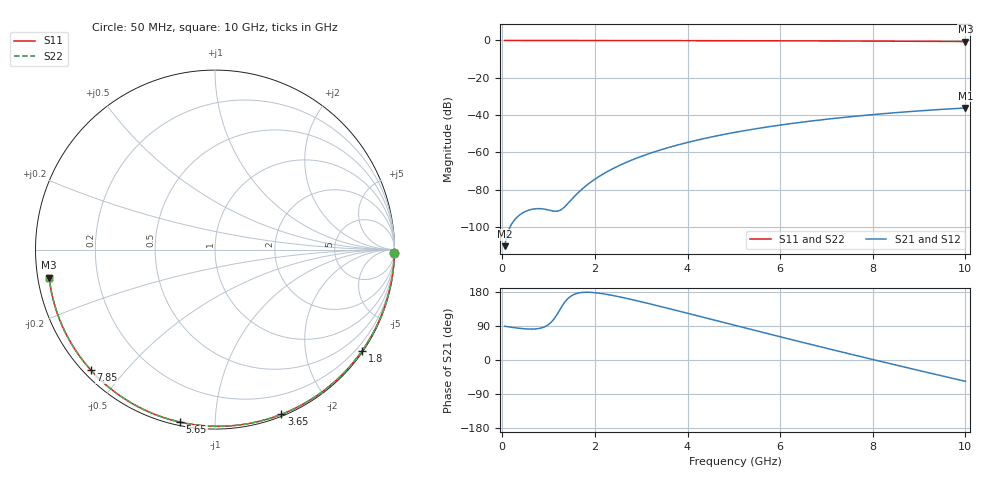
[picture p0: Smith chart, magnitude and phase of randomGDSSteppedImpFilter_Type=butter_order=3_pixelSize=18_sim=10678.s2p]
! freq	dB(S11)	phase(S11)	dB(S12)	phase(S12)
!  dB(S21)	phase(S21)	dB(S22)	phase(S22)
!S-par simulation data
#  GHz  S  DB  R 50
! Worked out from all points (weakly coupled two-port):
!   200 points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, 50 MHz to 10 GHz, reference 50 ohm
!   highest |S21| = -36.18 dB at 10 GHz (marker M1); lowest = -110.2 dB at 50 MHz (marker M2)
!   lowest |S11| = -0.6 dB at 10 GHz (marker M3), VSWR 30.87, Z = 1.63 - j4.18 ohm
!   |S11| at or under -10 dB: nowhere
!   |S22| runs from -0.6 to 0.0 dB; largest |S21 - S12| = 0
!   S11 on the Smith chart (normalised r, x): 50 MHz: open; 1.8 GHz: 0.03, -3.22; 3.65 GHz: 0.02, -1.48; 5.65 GHz: 0.02, -0.82; 7.85 GHz: 0.02, -0.40; 10 GHz: 0.03, -0.08
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0.05  -0.00 -1.0  -110.22 89.1  -110.22 89.1  -0.00 -1.0
0.45  -0.01 -8.8  -92.26 82.6  -92.26 82.6  -0.01 -8.8
0.85  -0.02 -16.5  -90.18 84.8  -90.18 84.8  -0.02 -16.5
1.7  -0.04 -32.7  -80.15 177.9  -80.15 177.9  -0.04 -32.7
1.75  -0.04 -33.6  -79.06 178.5  -79.06 178.5  -0.04 -33.6
1.8  -0.04 -34.6  -78.02 178.8  -78.02 178.8  -0.04 -34.5
1.95  -0.05 -37.4  -75.19 178.2  -75.19 178.2  -0.05 -37.3
2.1  -0.05 -40.1  -72.71 176.1  -72.71 176.1  -0.05 -40.1
2.45  -0.06 -46.6  -67.90 168.7  -67.90 168.7  -0.06 -46.6
2.9  -0.07 -54.8  -63.05 156.6  -63.05 156.6  -0.07 -54.7
3.4  -0.08 -63.7  -58.77 141.8  -58.77 141.8  -0.08 -63.6
3.65  -0.09 -68.1  -56.93 134.1  -56.93 134.1  -0.09 -68.0
4.3  -0.11 -79.2  -52.87 114.0  -52.87 114.0  -0.11 -79.2
5.05  -0.14 -91.7  -49.11 90.7  -49.11 90.7  -0.14 -91.7
5.65  -0.17 -101.5  -46.62 72.1  -46.62 72.1  -0.17 -101.4
6.15  -0.20 -109.5  -44.82 56.7  -44.82 56.7  -0.20 -109.4
6.7  -0.23 -118.1  -43.08 40.0  -43.08 40.0  -0.23 -118.1
7.25  -0.27 -126.7  -41.54 23.5  -41.54 23.5  -0.27 -126.6
7.85  -0.32 -136.0  -40.07 5.7  -40.07 5.7  -0.32 -135.9
8.35  -0.37 -143.8  -38.98 -9.0  -38.98 -9.0  -0.37 -143.7
9.2  -0.46 -157.3  -37.39 -33.5  -37.39 -33.5  -0.46 -157.2
10  -0.56 -170.4  -36.18 -56.2  -36.18 -56.2  -0.56 -170.3
